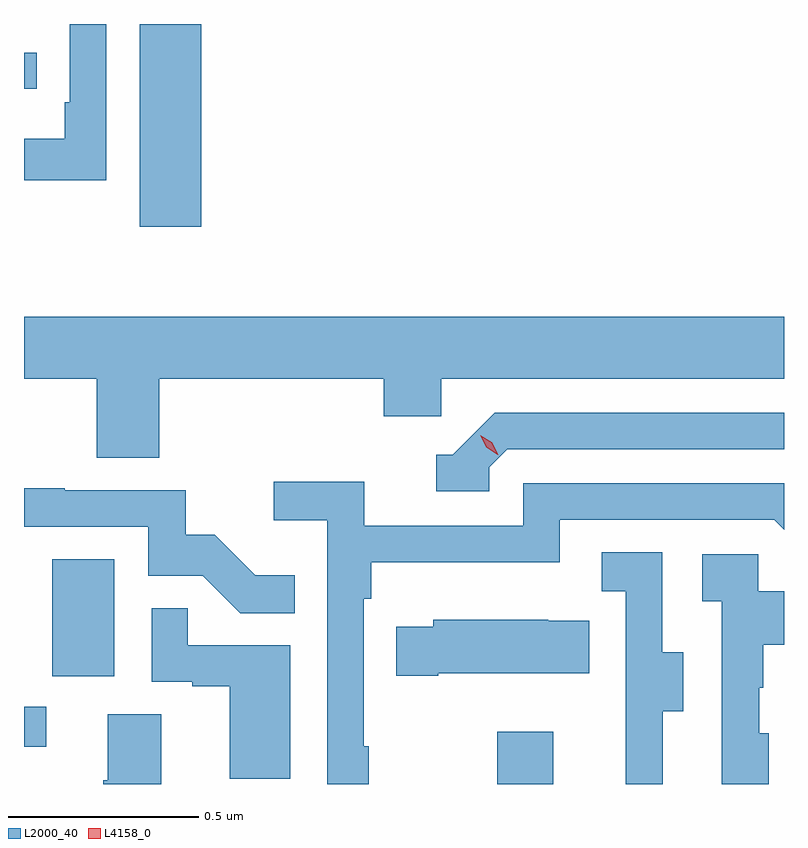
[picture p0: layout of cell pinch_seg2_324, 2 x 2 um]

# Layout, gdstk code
import gdstk
lib = gdstk.Library(unit=1e-6, precision=1e-09)
def R(c, l, rs):  # rectangles x0, y0, x1, y1
    for r in rs: c.add(gdstk.rectangle(r[:2], r[2:], *l))
def P(c, l, *ps):  # polygons
    for p in ps: c.add(gdstk.Polygon(p, *l))
L2000_40 = (2000, 40)
L4158_0 = (4158, 0)

pinch_seg2_324 = lib.new_cell('pinch_seg2_324')
R(pinch_seg2_324, L2000_40, [(927.508,625.258,927.655,625.396), (926.262,625.356,926.32,625.461), (926.336,625.542,926.5,625.849), (926.567,626.724,926.728,627.258), (926.262,627.087,926.296,627.183)])
P(pinch_seg2_324, L2000_40, [(926.478,627.258),(926.382,627.258),(926.382,627.052),(926.369,627.052),(926.369,626.956),(926.262,626.956),(926.262,626.847),(926.478,626.847)],
  [(926.618,626.324),(927.209,626.324),(927.209,626.226),(927.36,626.226),(927.36,626.324),(928.262,626.324),(928.262,626.488),(926.262,626.488),(926.262,626.324),(926.453,626.324),(926.453,626.116),(926.618,626.116)],
  [(927.486,626.091),(927.534,626.139),(928.262,626.139),(928.262,626.235),(927.501,626.235),(927.39,626.124),(927.347,626.124),(927.347,626.028),(927.486,626.028)],
  [(927.169,625.357),(927.156,625.357),(927.156,625.745),(927.176,625.745),(927.176,625.841),(927.672,625.841),(927.672,625.953),(928.236,625.953),(928.262,625.927),(928.262,626.049),(927.576,626.049),(927.576,625.938),(927.158,625.938),(927.158,626.054),(926.919,626.054),(926.919,625.952),(927.06,625.952),(927.06,625.258),(927.169,625.258)],
  [(926.975,625.807),(926.871,625.807),(926.764,625.914),(926.688,625.914),(926.688,626.031),(926.369,626.031),(926.369,626.036),(926.262,626.036),(926.262,625.935),(926.589,625.935),(926.589,625.806),(926.733,625.806),(926.831,625.708),(926.975,625.708)],
  [(927.943,625.45),(927.997,625.45),(927.997,625.605),(927.942,625.605),(927.942,625.868),(927.783,625.868),(927.783,625.765),(927.846,625.765),(927.846,625.461),(927.845,625.461),(927.845,625.258),(927.943,625.258)],
  [(928.222,625.392),(928.197,625.392),(928.197,625.511),(928.207,625.511),(928.207,625.625),(928.262,625.625),(928.262,625.765),(928.194,625.765),(928.194,625.863),(928.047,625.863),(928.047,625.739),(928.098,625.739),(928.098,625.258),(928.222,625.258)],
  [(926.962,625.623),(926.693,625.623),(926.693,625.721),(926.598,625.721),(926.598,625.527),(926.705,625.527),(926.705,625.515),(926.804,625.515),(926.804,625.272),(926.962,625.272)],
  [(927.352,625.55),(927.749,625.55),(927.749,625.687),(927.641,625.687),(927.641,625.69),(927.339,625.69),(927.339,625.672),(927.241,625.672),(927.241,625.543),(927.352,625.543)],
  [(926.623,625.442),(926.483,625.442),(926.483,625.268),(926.471,625.268),(926.471,625.258),(926.623,625.258)])
P(pinch_seg2_324, L4158_0, [(927.509,626.125),(927.479,626.144),(927.462,626.176),(927.462,626.176),(927.462,626.176),(927.493,626.157),(927.51,626.125),(927.51,626.125)])

lib.write_gds('pinch_seg2_324.gds')
